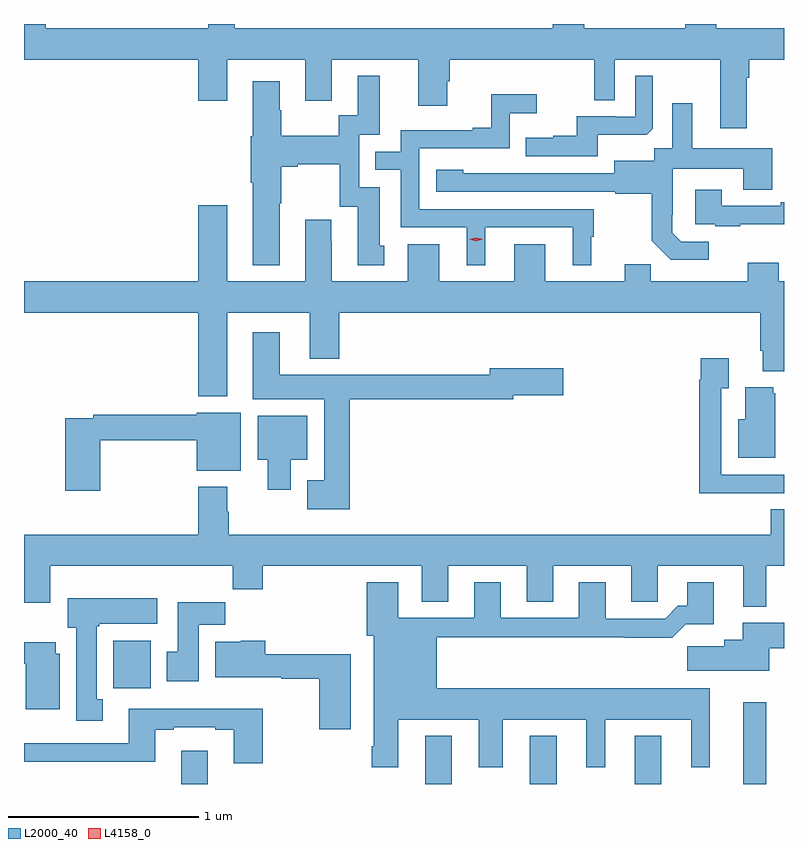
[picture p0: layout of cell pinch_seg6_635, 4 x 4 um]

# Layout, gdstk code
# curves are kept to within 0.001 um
import gdstk
lib = gdstk.Library(unit=1e-6, precision=1e-09)
def R(c, l, rs):  # rectangles x0, y0, x1, y1
    for r in rs: c.add(gdstk.rectangle(r[:2], r[2:], *l))
def A(c, l, x, y, w, h, nx, ny, dx, dy):  # array of equal rectangles
    R(c, l, [(x+i*dx, y+j*dy, x+i*dx+w, y+j*dy+h) for i in range(nx) for j in range(ny)])
def P(c, l, *ps):  # polygons
    for p in ps: c.add(gdstk.Polygon(p, *l))
L2000_40 = (2000, 40)
L4158_0 = (4158, 0)

pinch_seg6_635 = lib.new_cell('pinch_seg6_635')
A(pinch_seg6_635, L2000_40, 409.871, 922.211, 0.14, 0.254, 3, 1, 0.552, 0)
R(pinch_seg6_635, L2000_40, [(408.587,922.211,408.727,922.387), (411.545,922.211,411.667,922.642), (408.231,922.716,408.427,922.966)])
P(pinch_seg6_635, L2000_40, [(408.731,926.211),(408.731,926.188),(407.875,926.188),(407.875,926.211),(407.76,926.211),(407.76,926.024),(408.677,926.024),(408.677,925.806),(408.829,925.806),(408.829,926.024),(409.241,926.024),(409.241,925.806),(409.381,925.806),(409.381,926.024),(409.835,926.024),(409.835,925.782),(409.987,925.782),(409.987,925.911),(410,925.911),(410,926.024),(410.76,926.024),(410.76,925.81),(410.868,925.81),(410.868,926.024),(411.425,926.024),(411.425,925.662),(411.565,925.662),(411.565,925.928),(411.578,925.928),(411.578,926.024),(411.76,926.024),(411.76,926.188),(411.404,926.188),(411.404,926.211),(411.239,926.211),(411.239,926.188),(410.708,926.188),(410.708,926.211),(410.543,926.211),(410.543,926.188),(408.87,926.188),(408.87,926.211)],
  [(410.779,925.628),(411.037,925.628),(411.069,925.659),(411.069,925.939),(410.976,925.939),(410.976,925.722),(410.876,925.722),(410.876,925.725),(410.669,925.725),(410.669,925.624),(410.545,925.624),(410.545,925.612),(410.401,925.612),(410.401,925.515),(410.779,925.515)],
  [(409.105,925.267),(409.113,925.267),(409.113,925.46),(409.201,925.46),(409.201,925.472),(409.421,925.472),(409.421,925.248),(409.517,925.248),(409.517,924.942),(409.657,924.942),(409.657,925.044),(409.633,925.044),(409.633,925.353),(409.524,925.353),(409.524,925.629),(409.633,925.629),(409.633,925.939),(409.517,925.939),(409.517,925.73),(409.416,925.73),(409.416,925.624),(409.113,925.624),(409.113,925.758),(409.105,925.758),(409.105,925.909),(408.965,925.909),(408.965,925.62),(408.953,925.62),(408.953,925.376),(408.965,925.376),(408.965,924.941),(409.105,924.941)],
  [(410.188,925.14),(410.648,925.14),(410.648,924.941),(410.746,924.941),(410.746,925.092),(410.758,925.092),(410.758,925.236),(409.839,925.236),(409.839,925.557),(410.316,925.557),(410.316,925.742),(410.458,925.742),(410.458,925.841),(410.218,925.841),(410.218,925.666),(410.123,925.666),(410.123,925.653),(409.743,925.653),(409.743,925.539),(409.609,925.539),(409.609,925.443),(409.743,925.443),(409.743,925.14),(410.09,925.14),(410.09,924.941),(410.188,924.941)],
  [(411.364,925.065),(411.219,925.065),(411.172,925.112),(411.172,925.207),(411.174,925.207),(411.174,925.448),(411.545,925.448),(411.545,925.339),(411.697,925.339),(411.697,925.558),(411.277,925.558),(411.277,925.795),(411.173,925.795),(411.173,925.556),(411.078,925.556),(411.078,925.492),(410.867,925.492),(410.867,925.425),(410.073,925.426),(410.073,925.444),(409.929,925.444),(409.929,925.329),(410.871,925.329),(410.871,925.317),(411.063,925.317),(411.063,925.071),(411.163,924.971),(411.364,924.971)],
  [(411.529,925.157),(411.76,925.157),(411.76,925.273),(411.743,925.273),(411.743,925.254),(411.433,925.254),(411.433,925.339),(411.293,925.339),(411.293,925.158),(411.397,925.158),(411.397,925.146),(411.529,925.146)],
  [(411.569,924.856),(411.059,924.856),(411.059,924.947),(410.921,924.947),(410.921,924.856),(410.503,924.856),(410.503,925.051),(410.339,925.051),(410.339,924.856),(409.945,924.856),(409.945,925.051),(409.781,925.051),(409.781,924.856),(409.381,924.856),(409.381,925.067),(409.378,925.067),(409.378,925.18),(409.241,925.18),(409.241,924.856),(408.829,924.856),(408.829,925.258),(408.677,925.258),(408.677,924.856),(407.76,924.856),(407.76,924.692),(408.677,924.692),(408.677,924.251),(408.829,924.251),(408.829,924.692),(409.265,924.692),(409.265,924.449),(409.418,924.449),(409.418,924.692),(411.635,924.692),(411.635,924.49),(411.647,924.49),(411.647,924.383),(411.76,924.383),(411.76,924.856),(411.733,924.856),(411.733,924.955),(411.569,924.955)],
  [(409.475,924.235),(410.334,924.235),(410.334,924.257),(410.599,924.257),(410.599,924.399),(410.21,924.399),(410.21,924.364),(409.105,924.364),(409.105,924.589),(408.965,924.589),(408.965,924.236),(409.34,924.236),(409.34,923.809),(409.25,923.809),(409.25,923.657),(409.475,923.657)],
  [(411.605,923.742),(411.76,923.742),(411.76,923.838),(411.429,923.838),(411.429,924.295),(411.469,924.295),(411.469,924.451),(411.321,924.451),(411.321,924.338),(411.313,924.338),(411.313,923.741),(411.605,923.741)],
  [(411.715,924.267),(411.704,924.267),(411.704,924.298),(411.557,924.298),(411.557,924.13),(411.518,924.13),(411.518,923.927),(411.715,923.927)],
  [(408.161,924.019),(408.668,924.019),(408.668,923.861),(408.901,923.861),(408.901,924.166),(408.668,924.166),(408.668,924.155),(408.124,924.155),(408.124,924.135),(407.978,924.135),(407.978,923.754),(408.161,923.754)],
  [(409.165,923.918),(409.252,923.918),(409.252,924.148),(408.989,924.148),(408.989,923.918),(409.043,923.918),(409.043,923.76),(409.165,923.76)],
  [(411.667,923.36),(411.76,923.36),(411.76,923.657),(411.689,923.657),(411.689,923.524),(408.837,923.524),(408.837,923.645),(408.829,923.645),(408.829,923.776),(408.677,923.776),(408.677,923.524),(407.76,923.524),(407.76,923.166),(407.899,923.166),(407.899,923.36),(408.859,923.36),(408.859,923.236),(409.016,923.236),(409.016,923.36),(409.853,923.36),(409.853,923.17),(409.993,923.17),(409.993,923.36),(410.405,923.36),(410.405,923.17),(410.545,923.17),(410.545,923.36),(410.957,923.36),(410.957,923.17),(411.096,923.17),(411.096,923.36),(411.545,923.36),(411.545,923.144),(411.667,923.144)],
  [(409.729,922.55),(410.153,922.55),(410.153,922.299),(410.281,922.299),(410.281,922.55),(410.72,922.55),(410.72,922.299),(410.818,922.299),(410.818,922.55),(411.272,922.55),(411.272,922.299),(411.37,922.299),(411.37,922.714),(409.933,922.714),(409.933,922.984),(410.917,922.984),(410.917,922.982),(411.173,922.982),(411.242,923.051),(411.391,923.051),(411.391,923.272),(411.251,923.272),(411.251,923.149),(411.202,923.149),(411.135,923.082),(410.821,923.082),(410.821,923.272),(410.681,923.272),(410.681,923.085),(410.269,923.085),(410.269,923.272),(410.129,923.272),(410.129,923.085),(409.729,923.085),(409.729,923.272),(409.565,923.272),(409.565,922.992),(409.601,922.992),(409.601,922.411),(409.589,922.411),(409.589,922.299),(409.729,922.299)],
  [(408.175,922.657),(408.142,922.657),(408.142,923.041),(408.156,923.041),(408.156,923.054),(408.46,923.054),(408.46,923.188),(407.99,923.188),(407.99,923.034),(408.035,923.034),(408.035,922.545),(408.175,922.545)],
  [(408.679,923.048),(408.818,923.048),(408.818,923.167),(408.569,923.167),(408.569,922.908),(408.512,922.908),(408.512,922.752),(408.679,922.752)],
  [(411.682,922.925),(411.76,922.925),(411.76,923.059),(411.542,923.059),(411.542,922.969),(411.446,922.969),(411.446,922.937),(411.252,922.937),(411.252,922.808),(411.682,922.808)],
  [(409.48,922.894),(409.031,922.894),(409.031,922.966),(408.9,922.966),(408.9,922.96),(408.767,922.96),(408.767,922.772),(409.114,922.772),(409.114,922.765),(409.315,922.765),(409.315,922.5),(409.48,922.5)],
  [(407.947,922.896),(407.926,922.896),(407.926,922.957),(407.76,922.957),(407.76,922.844),(407.768,922.844),(407.768,922.604),(407.947,922.604)],
  [(409.016,922.606),(408.311,922.606),(408.311,922.425),(407.76,922.425),(407.76,922.328),(408.451,922.328),(408.451,922.497),(408.547,922.497),(408.547,922.509),(408.767,922.509),(408.767,922.497),(408.863,922.497),(408.863,922.32),(409.016,922.32)])
P(pinch_seg6_635, L4158_0, [(410.139,925.067),(410.103,925.077),(410.103,925.077),(410.103,925.077),(410.139,925.087),(410.175,925.077),(410.175,925.077),(410.175,925.077)])

lib.write_gds('pinch_seg6_635.gds')
